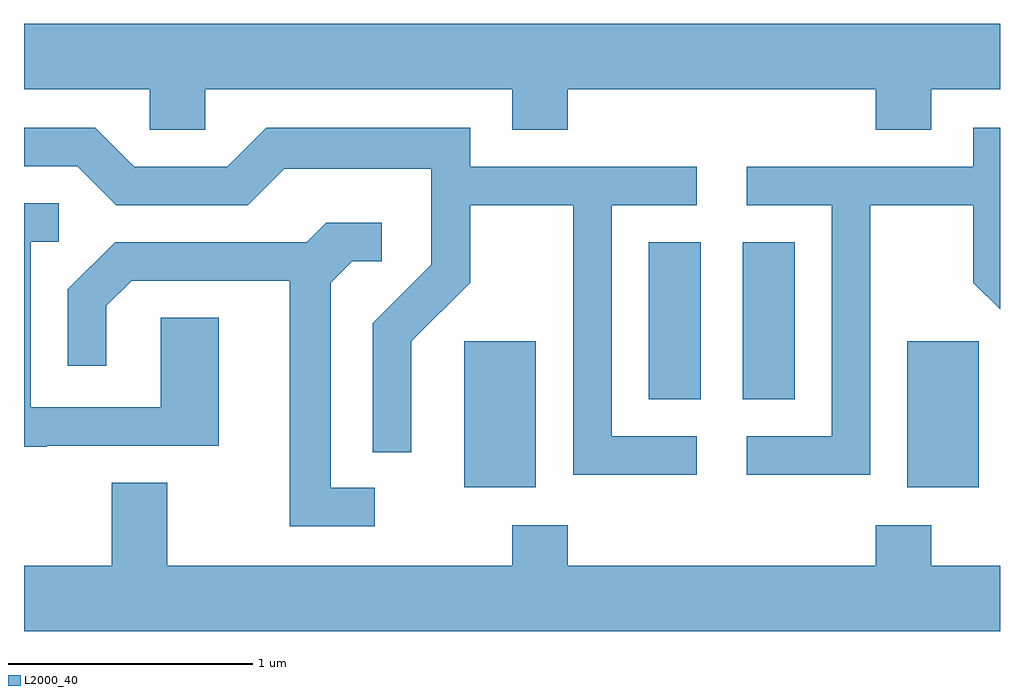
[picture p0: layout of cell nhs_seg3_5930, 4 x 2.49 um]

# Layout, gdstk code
import gdstk
lib = gdstk.Library(unit=1e-6, precision=1e-09)
def R(c, l, rs):  # rectangles x0, y0, x1, y1
    for r in rs: c.add(gdstk.rectangle(r[:2], r[2:], *l))
def P(c, l, *ps):  # polygons
    for p in ps: c.add(gdstk.Polygon(p, *l))
L2000_40 = (2000, 40)

nhs_seg3_5930 = lib.new_cell('nhs_seg3_5930')
R(nhs_seg3_5930, L2000_40, [(361.416,1153.246,361.709,1153.844), (363.231,1153.246,363.524,1153.844), (362.171,1153.606,362.384,1154.249), (362.556,1153.606,362.769,1154.249)])
P(nhs_seg3_5930, L2000_40, [(360.354,1154.876),(361.611,1154.876),(361.611,1154.711),(361.839,1154.711),(361.839,1154.876),(363.101,1154.876),(363.101,1154.711),(363.329,1154.711),(363.329,1154.876),(363.611,1154.876),(363.611,1155.144),(359.611,1155.144),(359.611,1154.876),(360.126,1154.876),(360.126,1154.711),(360.354,1154.711)],
  [(363.079,1154.401),(363.501,1154.401),(363.501,1154.084),(363.611,1153.974),(363.611,1154.719),(363.501,1154.719),(363.501,1154.559),(362.573,1154.559),(362.573,1154.401),(362.921,1154.401),(362.921,1153.454),(362.573,1153.454),(362.573,1153.296),(363.079,1153.296)],
  [(362.368,1153.454),(362.019,1153.454),(362.019,1154.401),(362.368,1154.401),(362.368,1154.559),(361.439,1154.559),(361.439,1154.719),(360.604,1154.719),(360.444,1154.559),(360.062,1154.559),(359.902,1154.719),(359.611,1154.719),(359.611,1154.561),(359.829,1154.561),(359.989,1154.401),(360.527,1154.401),(360.677,1154.551),(361.281,1154.551),(361.281,1154.157),(361.041,1153.917),(361.041,1153.388),(361.199,1153.388),(361.199,1153.844),(361.439,1154.084),(361.439,1154.401),(361.861,1154.401),(361.861,1153.296),(362.368,1153.296)],
  [(359.705,1153.416),(360.409,1153.416),(360.409,1153.939),(360.171,1153.939),(360.171,1153.574),(359.639,1153.574),(359.639,1154.251),(359.753,1154.251),(359.753,1154.409),(359.611,1154.409),(359.611,1153.411),(359.705,1153.411)],
  [(361.048,1153.244),(360.869,1153.244),(360.869,1154.084),(360.957,1154.171),(361.078,1154.171),(361.078,1154.329),(360.849,1154.329),(360.769,1154.249),(359.984,1154.249),(359.791,1154.057),(359.791,1153.743),(359.949,1153.743),(359.949,1153.989),(360.052,1154.091),(360.701,1154.091),(360.701,1153.086),(361.048,1153.086)],
  [(363.611,1152.924),(363.329,1152.924),(363.329,1153.089),(363.101,1153.089),(363.101,1152.924),(361.839,1152.924),(361.839,1153.089),(361.611,1153.089),(361.611,1152.924),(360.199,1152.924),(360.199,1153.264),(359.971,1153.264),(359.971,1152.924),(359.611,1152.924),(359.611,1152.656),(363.611,1152.656)])

lib.write_gds('nhs_seg3_5930.gds')
